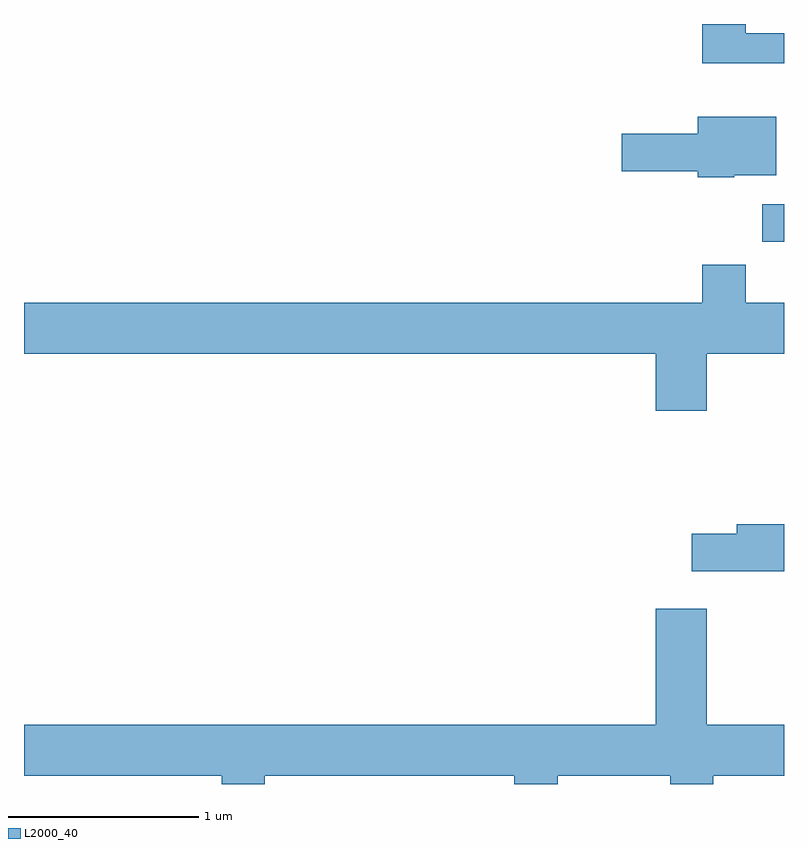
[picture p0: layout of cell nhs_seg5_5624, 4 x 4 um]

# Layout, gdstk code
import gdstk
lib = gdstk.Library(unit=1e-6, precision=1e-09)
def R(c, l, rs):  # rectangles x0, y0, x1, y1
    for r in rs: c.add(gdstk.rectangle(r[:2], r[2:], *l))
def P(c, l, *ps):  # polygons
    for p in ps: c.add(gdstk.Polygon(p, *l))
L2000_40 = (2000, 40)

nhs_seg5_5624 = lib.new_cell('nhs_seg5_5624')
R(nhs_seg5_5624, L2000_40, [(355.496,1472.926,355.611,1473.124)])
P(nhs_seg5_5624, L2000_40, [(355.611,1474.024),(355.409,1474.024),(355.409,1474.072),(355.181,1474.072),(355.181,1473.866),(355.611,1473.866)],
  [(355.35,1473.276),(355.569,1473.276),(355.569,1473.584),(355.156,1473.584),(355.156,1473.494),(354.756,1473.494),(354.756,1473.296),(355.156,1473.296),(355.156,1473.266),(355.35,1473.266)],
  [(355.204,1472.336),(355.611,1472.336),(355.611,1472.604),(355.409,1472.604),(355.409,1472.804),(355.181,1472.804),(355.181,1472.604),(351.611,1472.604),(351.611,1472.336),(354.936,1472.336),(354.936,1472.036),(355.204,1472.036)],
  [(355.611,1471.439),(355.361,1471.439),(355.361,1471.389),(355.126,1471.389),(355.126,1471.191),(355.611,1471.191)],
  [(352.879,1470.116),(354.191,1470.116),(354.191,1470.072),(354.419,1470.072),(354.419,1470.116),(355.011,1470.116),(355.011,1470.072),(355.239,1470.072),(355.239,1470.116),(355.611,1470.116),(355.611,1470.384),(355.204,1470.384),(355.204,1470.994),(354.936,1470.994),(354.936,1470.384),(351.611,1470.384),(351.611,1470.116),(352.651,1470.116),(352.651,1470.072),(352.879,1470.072)])

lib.write_gds('nhs_seg5_5624.gds')
